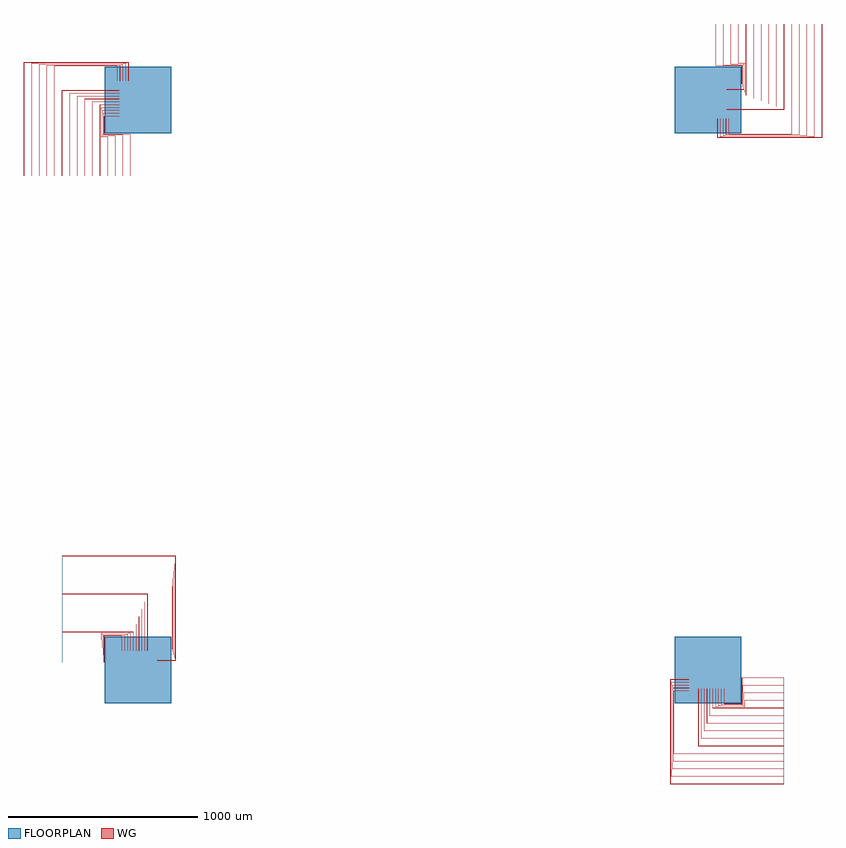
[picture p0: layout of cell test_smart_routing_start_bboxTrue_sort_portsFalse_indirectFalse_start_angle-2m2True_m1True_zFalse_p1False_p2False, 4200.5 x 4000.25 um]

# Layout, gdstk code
import gdstk
lib = gdstk.Library(unit=1e-6, precision=1e-09)
def R(c, l, rs):  # rectangles x0, y0, x1, y1
    for r in rs: c.add(gdstk.rectangle(r[:2], r[2:], *l))
def P(c, l, *ps):  # polygons
    for p in ps: c.add(gdstk.Polygon(p, *l))
WG = (1, 0)
FLOORPLAN = (10, 0)

test_smart_routing_start = lib.new_cell('test_smart_routing_start_bboxTrue_sort_portsFalse_indirectFalse_start_angle-2m2True_m1True_zFalse_p1False_p2False')
P(test_smart_routing_start, WG, [(100,49.75),(100,50.25),(197,50.25),(197,599.75),(-400,599.75),(-400,600.25),(197.5,600.25),(197.5,49.75)],
  [(100,64.75),(100,65.25),(192.5,65.25),(192.5,559.75),(-400,559.75),(-400,560.25),(193,560.25),(193,64.75)],
  [(100,79.75),(100,80.25),(188,80.25),(188,519.75),(-400,519.75),(-400,520.25),(188.5,520.25),(188.5,79.75)],
  [(100,94.75),(100,95.25),(183.5,95.25),(183.5,479.75),(-400,479.75),(-400,480.25),(184,480.25),(184,94.75)],
  [(100,109.75),(100,110.25),(179,110.25),(179,439.75),(-400,439.75),(-400,440.25),(179.5,440.25),(179.5,109.75)],
  [(49.75,100),(49.75,399.75),(-400,399.75),(-400,400.25),(50.25,400.25),(50.25,100)],
  [(34.75,100),(34.75,359.75),(-400,359.75),(-400,360.25),(35.25,360.25),(35.25,100)],
  [(19.75,100),(19.75,319.75),(-400,319.75),(-400,320.25),(20.25,320.25),(20.25,100)],
  [(4.75,100),(4.75,279.75),(-400,279.75),(-400,280.25),(5.25,280.25),(5.25,100)],
  [(-10.25,100),(-10.25,239.75),(-400,239.75),(-400,240.25),(-9.75,240.25),(-9.75,100)],
  [(-25.25,100),(-25.25,199.75),(-400,199.75),(-400,200.25),(-24.75,200.25),(-24.75,100)],
  [(-40.25,100),(-40.25,192.5),(-192.5,192.5),(-192.5,159.75),(-400,159.75),(-400,160.25),(-193,160.25),(-193,193),(-39.75,193),(-39.75,100)],
  [(-55.25,100),(-55.25,188),(-188,188),(-188,119.75),(-400,119.75),(-400,120.25),(-188.5,120.25),(-188.5,188.5),(-54.75,188.5),(-54.75,100)],
  [(-400,79.75),(-400,80.25),(-184,80.25),(-184,184),(-69.75,184),(-69.75,100),(-70.25,100),(-70.25,183.5),(-183.5,183.5),(-183.5,79.75)],
  [(-400,39.75),(-400,40.25),(-179.5,40.25),(-179.5,179.5),(-84.75,179.5),(-84.75,100),(-85.25,100),(-85.25,179),(-179,179),(-179,39.75)],
  [(-600.25,2600),(-600.25,3197.5),(-49.75,3197.5),(-49.75,3100),(-50.25,3100),(-50.25,3197),(-599.75,3197),(-599.75,2600)],
  [(-560.25,2600),(-560.25,3193),(-64.75,3193),(-64.75,3100),(-65.25,3100),(-65.25,3192.5),(-559.75,3192.5),(-559.75,2600)],
  [(-520.25,2600),(-520.25,3188.5),(-79.75,3188.5),(-79.75,3100),(-80.25,3100),(-80.25,3188),(-519.75,3188),(-519.75,2600)],
  [(-480.25,2600),(-480.25,3184),(-94.75,3184),(-94.75,3100),(-95.25,3100),(-95.25,3183.5),(-479.75,3183.5),(-479.75,2600)],
  [(-440.25,2600),(-440.25,3179.5),(-109.75,3179.5),(-109.75,3100),(-110.25,3100),(-110.25,3179),(-439.75,3179),(-439.75,2600)],
  [(-400.25,2600),(-400.25,3050.25),(-100,3050.25),(-100,3049.75),(-399.75,3049.75),(-399.75,2600)],
  [(-360.25,2600),(-360.25,3035.25),(-100,3035.25),(-100,3034.75),(-359.75,3034.75),(-359.75,2600)],
  [(-320.25,2600),(-320.25,3020.25),(-100,3020.25),(-100,3019.75),(-319.75,3019.75),(-319.75,2600)],
  [(-280.25,2600),(-280.25,3005.25),(-100,3005.25),(-100,3004.75),(-279.75,3004.75),(-279.75,2600)],
  [(-240.25,2600),(-240.25,2990.25),(-100,2990.25),(-100,2989.75),(-239.75,2989.75),(-239.75,2600)],
  [(-200.25,2600),(-200.25,2975.25),(-100,2975.25),(-100,2974.75),(-199.75,2974.75),(-199.75,2600)],
  [(-160.25,2600),(-160.25,2807),(-193,2807),(-193,2960.25),(-100,2960.25),(-100,2959.75),(-192.5,2959.75),(-192.5,2807.5),(-159.75,2807.5),(-159.75,2600)],
  [(-120.25,2600),(-120.25,2811.5),(-188.5,2811.5),(-188.5,2945.25),(-100,2945.25),(-100,2944.75),(-188,2944.75),(-188,2812),(-119.75,2812),(-119.75,2600)],
  [(-80.25,2600),(-80.25,2816),(-184,2816),(-184,2930.25),(-100,2930.25),(-100,2929.75),(-183.5,2929.75),(-183.5,2816.5),(-79.75,2816.5),(-79.75,2600)],
  [(-40.25,2600),(-40.25,2820.5),(-179.5,2820.5),(-179.5,2915.25),(-100,2915.25),(-100,2914.75),(-179,2914.75),(-179,2821),(-39.75,2821),(-39.75,2600)],
  [(2802.5,-600.25),(2802.5,-49.75),(2900,-49.75),(2900,-50.25),(2803,-50.25),(2803,-599.75),(3400,-599.75),(3400,-600.25)],
  [(2807,-560.25),(2807,-64.75),(2900,-64.75),(2900,-65.25),(2807.5,-65.25),(2807.5,-559.75),(3400,-559.75),(3400,-560.25)],
  [(2811.5,-520.25),(2811.5,-79.75),(2900,-79.75),(2900,-80.25),(2812,-80.25),(2812,-519.75),(3400,-519.75),(3400,-520.25)],
  [(2816,-480.25),(2816,-94.75),(2900,-94.75),(2900,-95.25),(2816.5,-95.25),(2816.5,-479.75),(3400,-479.75),(3400,-480.25)],
  [(2820.5,-440.25),(2820.5,-109.75),(2900,-109.75),(2900,-110.25),(2821,-110.25),(2821,-439.75),(3400,-439.75),(3400,-440.25)],
  [(2949.75,-400.25),(2949.75,-100),(2950.25,-100),(2950.25,-399.75),(3400,-399.75),(3400,-400.25)],
  [(2964.75,-360.25),(2964.75,-100),(2965.25,-100),(2965.25,-359.75),(3400,-359.75),(3400,-360.25)],
  [(2979.75,-320.25),(2979.75,-100),(2980.25,-100),(2980.25,-319.75),(3400,-319.75),(3400,-320.25)],
  [(2994.75,-280.25),(2994.75,-100),(2995.25,-100),(2995.25,-279.75),(3400,-279.75),(3400,-280.25)],
  [(3009.75,-240.25),(3009.75,-100),(3010.25,-100),(3010.25,-239.75),(3400,-239.75),(3400,-240.25)],
  [(3024.75,-200.25),(3024.75,-100),(3025.25,-100),(3025.25,-199.75),(3400,-199.75),(3400,-200.25)],
  [(3039.75,-193),(3039.75,-100),(3040.25,-100),(3040.25,-192.5),(3192.5,-192.5),(3192.5,-159.75),(3400,-159.75),(3400,-160.25),(3193,-160.25),(3193,-193)],
  [(3054.75,-188.5),(3054.75,-100),(3055.25,-100),(3055.25,-188),(3188,-188),(3188,-119.75),(3400,-119.75),(3400,-120.25),(3188.5,-120.25),(3188.5,-188.5)],
  [(3069.75,-184),(3069.75,-100),(3070.25,-100),(3070.25,-183.5),(3183.5,-183.5),(3183.5,-79.75),(3400,-79.75),(3400,-80.25),(3184,-80.25),(3184,-184)],
  [(3084.75,-179.5),(3084.75,-100),(3085.25,-100),(3085.25,-179),(3179,-179),(3179,-39.75),(3400,-39.75),(3400,-40.25),(3179.5,-40.25),(3179.5,-179.5)],
  [(3049.75,2802.5),(3049.75,2900),(3050.25,2900),(3050.25,2803),(3599.75,2803),(3599.75,3400),(3600.25,3400),(3600.25,2802.5)],
  [(3064.75,2807),(3064.75,2900),(3065.25,2900),(3065.25,2807.5),(3559.75,2807.5),(3559.75,3400),(3560.25,3400),(3560.25,2807)],
  [(3079.75,2811.5),(3079.75,2900),(3080.25,2900),(3080.25,2812),(3519.75,2812),(3519.75,3400),(3520.25,3400),(3520.25,2811.5)],
  [(3094.75,2816),(3094.75,2900),(3095.25,2900),(3095.25,2816.5),(3479.75,2816.5),(3479.75,3400),(3480.25,3400),(3480.25,2816)],
  [(3109.75,2820.5),(3109.75,2900),(3110.25,2900),(3110.25,2821),(3439.75,2821),(3439.75,3400),(3440.25,3400),(3440.25,2820.5)],
  [(3100,2949.75),(3100,2950.25),(3399.75,2950.25),(3399.75,3400),(3400.25,3400),(3400.25,2949.75)],
  [(3100,2964.75),(3100,2965.25),(3359.75,2965.25),(3359.75,3400),(3360.25,3400),(3360.25,2964.75)],
  [(3100,2979.75),(3100,2980.25),(3319.75,2980.25),(3319.75,3400),(3320.25,3400),(3320.25,2979.75)],
  [(3100,2994.75),(3100,2995.25),(3279.75,2995.25),(3279.75,3400),(3280.25,3400),(3280.25,2994.75)],
  [(3100,3009.75),(3100,3010.25),(3239.75,3010.25),(3239.75,3400),(3240.25,3400),(3240.25,3009.75)],
  [(3100,3024.75),(3100,3025.25),(3199.75,3025.25),(3199.75,3400),(3200.25,3400),(3200.25,3024.75)],
  [(3100,3039.75),(3100,3040.25),(3192.5,3040.25),(3192.5,3192.5),(3159.75,3192.5),(3159.75,3400),(3160.25,3400),(3160.25,3193),(3193,3193),(3193,3039.75)],
  [(3100,3054.75),(3100,3055.25),(3188,3055.25),(3188,3188),(3119.75,3188),(3119.75,3400),(3120.25,3400),(3120.25,3188.5),(3188.5,3188.5),(3188.5,3054.75)],
  [(3100,3069.75),(3100,3070.25),(3183.5,3070.25),(3183.5,3183.5),(3079.75,3183.5),(3079.75,3400),(3080.25,3400),(3080.25,3184),(3184,3184),(3184,3069.75)],
  [(3100,3084.75),(3100,3085.25),(3179,3085.25),(3179,3179),(3039.75,3179),(3039.75,3400),(3040.25,3400),(3040.25,3179.5),(3179.5,3179.5),(3179.5,3084.75)])
R(test_smart_routing_start, FLOORPLAN, [(-175,-175,175,175), (2825,-175,3175,175), (-175,2825,175,3175), (2825,2825,3175,3175)])
P(test_smart_routing_start, FLOORPLAN, [(-400,40),(-400,600),(-400,600),(-400,40)],
  [(-600,2600),(-600,2600),(-40,2600),(-40,2600)],
  [(3400,-600),(3400,-40),(3400,-40),(3400,-600)],
  [(3040,3400),(3040,3400),(3600,3400),(3600,3400)])

lib.write_gds('test_smart_routing_start_bboxTrue_sort_portsFalse_indirectFalse_start_angle-2m2True_m1True_zFalse_p1False_p2False.gds')
